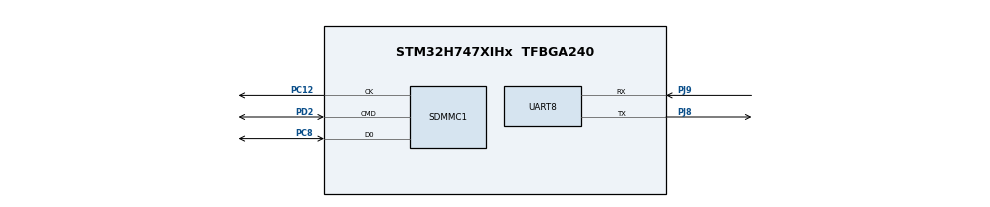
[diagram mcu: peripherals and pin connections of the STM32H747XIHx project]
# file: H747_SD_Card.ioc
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Mcu.Family=STM32H7
PD2.PinAttribute=CortexM7
RCC.CortexFreq_Value=64000000
PJ9.Mode=Asynchronous
PH0-OSC_IN\ (PH0).PinAttribute=CortexM7
PH0-OSC_IN\ (PH0).Signal=RCC_OSC_IN
PC12.Signal=SDMMC1_CK
PC12.PinAttribute=CortexM7
ProjectManager.StackSize=0x400
RCC.HCLKFreq_Value=64000000
PH1-OSC_OUT\ (PH1).Mode=HSE-External-Oscillator
PC8.PinAttribute=CortexM7
NVIC2.PriorityGroup=NVIC_PRIORITYGROUP_4
VP_SYS_M4_VS_Systick.Mode=SysTick
CortexM7.IPs=BDMA\:I,CORTEX_M7\:I,DEBUG\:I,DMA\:I,FATFS_M7\:I,FREERTOS_M7\:I,IWDG1\:I,MDMA\:I,NVIC1\:I,OPENAMP_M7\:I,PDM2PCM_M7\:I,PWR\:I,RCC\:I,RESMGR_UTILITY\:I,SYS\:I,USB_DEVICE_M7\:I,USB_HOST_M7\:I,VREFBUF\:I,WWDG1\:I,UART8\:I,SDMMC1\:I
RCC.APB3Freq_Value=64000000
Mcu.Package=TFBGA240
PJ9.PinAttribute=CortexM7
PJ9.Signal=UART8_RX
RCC.APB4Freq_Value=64000000
PH0-OSC_IN\ (PH0).Mode=HSE-External-Oscillator
PH1-OSC_OUT\ (PH1).PinAttribute=CortexM7
NVIC1.UART8_IRQn=true\:0\:0\:false\:false\:true\:true\:true
PJ8.Mode=Asynchronous
VP_FATFS_M7_VS_SDIO.Mode=SDIO
PC8.Signal=SDMMC1_D0
NVIC1.PriorityGroup=NVIC_PRIORITYGROUP_4
PJ8.PinAttribute=CortexM7
PH1-OSC_OUT\ (PH1).Signal=RCC_OSC_OUT
SYS.userName=SYS_M7
ProjectManager.TargetToolchain=STM32CubeIDE
RCC.USBFreq_Value=129000000
PD2.Mode=SD_1_bit
PC12.Mode=SD_1_bit
board=custom
FATFS_M7._USE_STRFUNC=1
RCC.APB2Freq_Value=64000000
RCC.ADCFreq_Value=129000000
Mcu.Name=STM32H747XIHx
PC8.Mode=SD_1_bit
RCC.SYSCLKFreq_VALUE=64000000
PJ8.Signal=UART8_TX
ProjectManager.HeapSize=0x200
PD2.Signal=SDMMC1_CMD
RCC.APB1Freq_Value=64000000
CortexM4.IPs=BDMA,CORTEX_M4\:I,DEBUG,DMA,FATFS_M4\:I,FREERTOS_M4\:I,IWDG2\:I,MDMA,NVIC2\:I,OPENAMP_M4\:I,PDM2PCM_M4\:I,PWR,RCC,RESMGR_UTILITY,SYS_M4\:I,USB_DEVICE_M4\:I,USB_HOST_M4\:I,VREFBUF,WWDG2\:I

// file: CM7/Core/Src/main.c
/* USER CODE BEGIN Header */
/**
  ******************************************************************************
  * @file           : main.c
  * @brief          : Main program body
  ******************************************************************************
  * @attention
  *
  * <h2><center>&copy; Copyright (c) 2021 STMicroelectronics.
  * All rights reserved.</center></h2>
  *
  * This software component is licensed by ST under BSD 3-Clause license,
  * the "License"; You may not use this file except in compliance with the
  * License. You may obtain a copy of the License at:
  *                        opensource.org/licenses/BSD-3-Clause
  *
  ******************************************************************************
  */
/* USER CODE END Header */
#include "main.h"
#include "fatfs.h"
#include <stdio.h>
#include <string.h>

/* USER CODE BEGIN PD */

#ifndef HSEM_ID_0
#define HSEM_ID_0 (0U) /* HW semaphore 0*/
#endif
/* USER CODE END PD */

/* USER CODE BEGIN PM */
FATFS   	fatfs; 		/* FAT File System */
FRESULT 	fresult;  	/* FAT File Result */
FIL			myfile;		/* FILE Instance */
/* USER CODE END PM */

SD_HandleTypeDef hsd1;

UART_HandleTypeDef huart8;

uint8_t write_data[] = "Hello! This is my friend.", byte_written = 0;

void SystemClock_Config(void);
static void MX_GPIO_Init(void);
static void MX_SDMMC1_SD_Init(void);
static void MX_UART8_Init(void);
/* USER CODE BEGIN PFP */
int __io_putchar (int ch) {
	uint8_t c = ch;
	HAL_UART_Transmit(&huart8, &c, 1, 1000);
	return ch;
}
/* USER CODE END PFP */

/* USER CODE BEGIN 0 */
void Sd_Card_Manager()
{
	printf("===================Sd_Card_Manager====================\r\n");
	if(BSP_SD_Init() == MSD_OK)
	{
		printf("===================ok====================\r\n");
		fresult = f_mount(&fatfs,"",1);

		/* Create File with name "stm32.txt" and file access is write */
		fresult = f_open(&myfile,"stm.txt",FA_CREATE_ALWAYS|FA_WRITE);

		byte_written = f_printf(&myfile,"%s",write_data);

		fresult = f_close(&myfile);
	}
}
/* USER CODE END 0 */

int main(void)
{
	/* USER CODE BEGIN Boot_Mode_Sequence_0 */
	int32_t timeout;
	/* USER CODE END Boot_Mode_Sequence_0 */

	/* USER CODE BEGIN Boot_Mode_Sequence_1 */
	/* Wait until CPU2 boots and enters in stop mode or timeout*/
	timeout = 0xFFFF;
	while((__HAL_RCC_GET_FLAG(RCC_FLAG_D2CKRDY) != RESET) && (timeout-- > 0));
	if ( timeout < 0 )
	{
	Error_Handler();
	}
	/* USER CODE END Boot_Mode_Sequence_1 */
	/* MCU Configuration--------------------------------------------------------*/

	/* Reset of all peripherals, Initializes the Flash interface and the Systick. */
	HAL_Init();

	/* Configure the system clock */
	SystemClock_Config();
	/* USER CODE BEGIN Boot_Mode_Sequence_2 */
	/* When system initialization is finished, Cortex-M7 will release Cortex-M4 by means of
	HSEM notification */
	/*HW semaphore Clock enable*/
	__HAL_RCC_HSEM_CLK_ENABLE();
	/*Take HSEM */
	HAL_HSEM_FastTake(HSEM_ID_0);
	/*Release HSEM in order to notify the CPU2(CM4)*/
	HAL_HSEM_Release(HSEM_ID_0,0);
	/* wait until CPU2 wakes up from stop mode */
	timeout = 0xFFFF;
	while((__HAL_RCC_GET_FLAG(RCC_FLAG_D2CKRDY) == RESET) && (timeout-- > 0));
	if ( timeout < 0 )
	{
	Error_Handler();
	}
	/* USER CODE END Boot_Mode_Sequence_2 */

	/* Initialize all configured peripherals */
	MX_GPIO_Init();
	MX_SDMMC1_SD_Init();
	MX_UART8_Init();
	MX_FATFS_Init();

	/* USER CODE BEGIN 2 */
	Sd_Card_Manager();
	/* USER CODE END 2 */

	/* Infinite loop */
	while (1)
	{
		printf("=====Tran Minh Tan=====\r\n");
		HAL_Delay(1000);
	}
}

void SystemClock_Config(void)
{
  RCC_ClkInitTypeDef RCC_ClkInitStruct;
  RCC_OscInitTypeDef RCC_OscInitStruct;
  HAL_StatusTypeDef ret = HAL_OK;

  /*!< Supply configuration update enable */
  HAL_PWREx_ConfigSupply(PWR_DIRECT_SMPS_SUPPLY);

  /* The voltage scaling allows optimizing the power consumption when the device is
     clocked below the maximum system frequency, to update the voltage scaling value
     regarding system frequency refer to product datasheet.  */
  __HAL_PWR_VOLTAGESCALING_CONFIG(PWR_REGULATOR_VOLTAGE_SCALE1);

  while(!__HAL_PWR_GET_FLAG(PWR_FLAG_VOSRDY)) {}

  /* Enable HSE Oscillator and activate PLL with HSE as source */
  RCC_OscInitStruct.OscillatorType = RCC_OSCILLATORTYPE_HSE;
  RCC_OscInitStruct.HSEState = RCC_HSE_ON;
  RCC_OscInitStruct.HSIState = RCC_HSI_OFF;
  RCC_OscInitStruct.CSIState = RCC_CSI_OFF;
  RCC_OscInitStruct.PLL.PLLState = RCC_PLL_ON;
  RCC_OscInitStruct.PLL.PLLSource = RCC_PLLSOURCE_HSE;

  RCC_OscInitStruct.PLL.PLLM = 5;
  RCC_OscInitStruct.PLL.PLLN = 160;
  RCC_OscInitStruct.PLL.PLLFRACN = 0;
  RCC_OscInitStruct.PLL.PLLP = 2;
  RCC_OscInitStruct.PLL.PLLR = 2;
  RCC_OscInitStruct.PLL.PLLQ = 4;

  RCC_OscInitStruct.PLL.PLLVCOSEL = RCC_PLL1VCOWIDE;
  RCC_OscInitStruct.PLL.PLLRGE = RCC_PLL1VCIRANGE_2;
  ret = HAL_RCC_OscConfig(&RCC_OscInitStruct);
  if(ret != HAL_OK)
  {
    Error_Handler();
  }

/* Select PLL as system clock source and configure  bus clocks dividers */
  RCC_ClkInitStruct.ClockType = (RCC_CLOCKTYPE_SYSCLK | RCC_CLOCKTYPE_HCLK | RCC_CLOCKTYPE_D1PCLK1 | RCC_CLOCKTYPE_PCLK1 | \
                                 RCC_CLOCKTYPE_PCLK2  | RCC_CLOCKTYPE_D3PCLK1);

  RCC_ClkInitStruct.SYSCLKSource = RCC_SYSCLKSOURCE_PLLCLK;
  RCC_ClkInitStruct.SYSCLKDivider = RCC_SYSCLK_DIV1;
  RCC_ClkInitStruct.AHBCLKDivider = RCC_HCLK_DIV2;
  RCC_ClkInitStruct.APB3CLKDivider = RCC_APB3_DIV2;
  RCC_ClkInitStruct.APB1CLKDivider = RCC_APB1_DIV2;
  RCC_ClkInitStruct.APB2CLKDivider = RCC_APB2_DIV2;
  RCC_ClkInitStruct.APB4CLKDivider = RCC_APB4_DIV2;
  ret = HAL_RCC_ClockConfig(&RCC_ClkInitStruct, FLASH_LATENCY_4);
  if(ret != HAL_OK)
  {
    Error_Handler();
  }
    /*
  Note : The activation of the I/O Compensation Cell is recommended with communication  interfaces
          (GPIO, SPI, FMC, QSPI ...)  when  operating at  high frequencies(please refer to product datasheet)
          The I/O Compensation Cell activation  procedure requires :
        - The activation of the CSI clock
        - The activation of the SYSCFG clock
        - Enabling the I/O Compensation Cell : setting bit[0] of register SYSCFG_CCCSR

          To do this please uncomment the following code
  */

  /*
  __HAL_RCC_CSI_ENABLE() ;

  __HAL_RCC_SYSCFG_CLK_ENABLE() ;

  HAL_EnableCompensationCell();
  */
}
static void MX_SDMMC1_SD_Init(void)
{

  hsd1.Instance = SDMMC1;
  hsd1.Init.ClockEdge = SDMMC_CLOCK_EDGE_RISING;
  hsd1.Init.ClockPowerSave = SDMMC_CLOCK_POWER_SAVE_DISABLE;
  hsd1.Init.BusWide = SDMMC_BUS_WIDE_1B;
  hsd1.Init.HardwareFlowControl = SDMMC_HARDWARE_FLOW_CONTROL_DISABLE;
  hsd1.Init.ClockDiv = 0;
  hsd1.Init.TranceiverPresent = SDMMC_TRANSCEIVER_NOT_PRESENT;
  if (HAL_SD_Init(&hsd1) != HAL_OK)
  {
    Error_Handler();
  }

}

static void MX_UART8_Init(void)
{

  huart8.Instance = UART8;
  huart8.Init.BaudRate = 115200;
  huart8.Init.WordLength = UART_WORDLENGTH_8B;
  huart8.Init.StopBits = UART_STOPBITS_1;
  huart8.Init.Parity = UART_PARITY_NONE;
  huart8.Init.Mode = UART_MODE_TX_RX;
  huart8.Init.HwFlowCtl = UART_HWCONTROL_NONE;
  huart8.Init.OverSampling = UART_OVERSAMPLING_16;
  huart8.Init.OneBitSampling = UART_ONE_BIT_SAMPLE_DISABLE;
  huart8.Init.ClockPrescaler = UART_PRESCALER_DIV1;
  huart8.AdvancedInit.AdvFeatureInit = UART_ADVFEATURE_NO_INIT;
  if (HAL_UART_Init(&huart8) != HAL_OK)
  {
    Error_Handler();
  }
  if (HAL_UARTEx_SetTxFifoThreshold(&huart8, UART_TXFIFO_THRESHOLD_1_8) != HAL_OK)
  {
    Error_Handler();
  }
  if (HAL_UARTEx_SetRxFifoThreshold(&huart8, UART_RXFIFO_THRESHOLD_1_8) != HAL_OK)
  {
    Error_Handler();
  }
  if (HAL_UARTEx_DisableFifoMode(&huart8) != HAL_OK)
  {
    Error_Handler();
  }

}

static void MX_GPIO_Init(void)
{

  /* GPIO Ports Clock Enable */
  __HAL_RCC_GPIOC_CLK_ENABLE();
  __HAL_RCC_GPIOD_CLK_ENABLE();
  __HAL_RCC_GPIOH_CLK_ENABLE();
  __HAL_RCC_GPIOJ_CLK_ENABLE();

}

void Error_Handler(void)
{
  /* USER CODE BEGIN Error_Handler_Debug */
  /* User can add his own implementation to report the HAL error return state */
//  __disable_irq();
//  while (1)
//  {
//  }
  /* USER CODE END Error_Handler_Debug */
}

/************************ (C) COPYRIGHT STMicroelectronics *****END OF FILE****/
